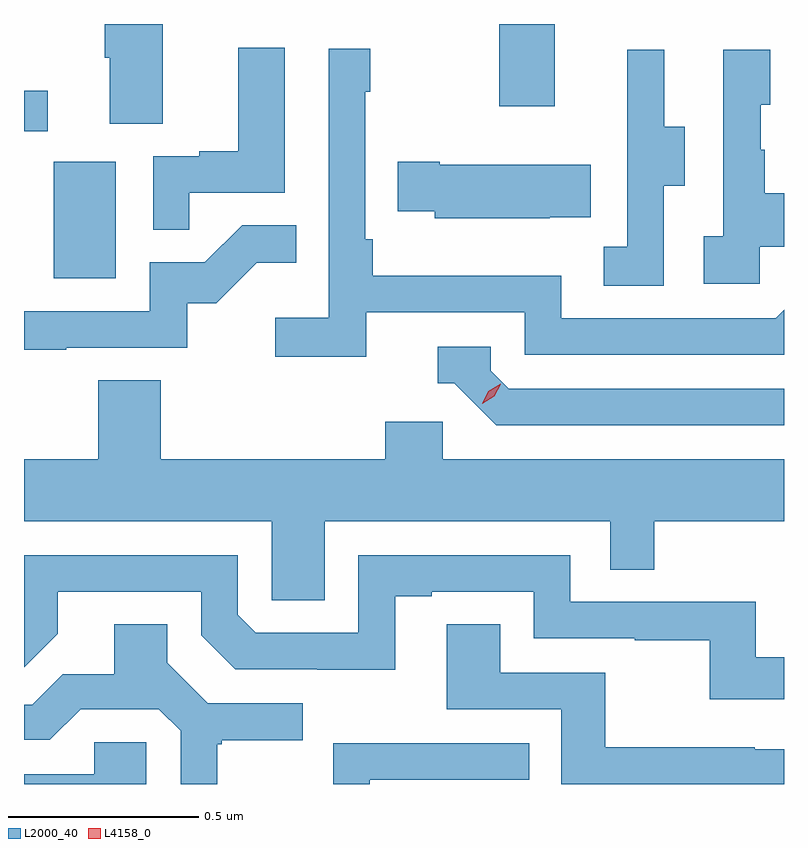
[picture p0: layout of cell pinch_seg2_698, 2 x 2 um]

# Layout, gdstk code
import gdstk
lib = gdstk.Library(unit=1e-6, precision=1e-09)
def R(c, l, rs):  # rectangles x0, y0, x1, y1
    for r in rs: c.add(gdstk.rectangle(r[:2], r[2:], *l))
def P(c, l, *ps):  # polygons
    for p in ps: c.add(gdstk.Polygon(p, *l))
L2000_40 = (2000, 40)
L4158_0 = (4158, 0)

pinch_seg2_698 = lib.new_cell('pinch_seg2_698')
R(pinch_seg2_698, L2000_40, [(1100.828,600.324,1100.992,600.631), (1100.75,600.711,1100.812,600.817), (1102,600.777,1102.147,600.993)])
P(pinch_seg2_698, L2000_40, [(1101.115,600.993),(1100.963,600.993),(1100.963,600.904),(1100.975,600.904),(1100.975,600.73),(1101.115,600.73)],
  [(1101.185,600.549),(1101.436,600.549),(1101.436,600.931),(1101.314,600.931),(1101.314,600.658),(1101.211,600.658),(1101.211,600.645),(1101.09,600.645),(1101.09,600.451),(1101.185,600.451)],
  [(1101.65,600.234),(1102.068,600.234),(1102.068,600.123),(1102.75,600.123),(1102.75,600.241),(1102.728,600.219),(1102.164,600.219),(1102.164,600.331),(1101.668,600.331),(1101.668,600.427),(1101.648,600.427),(1101.648,600.815),(1101.661,600.815),(1101.661,600.928),(1101.552,600.928),(1101.552,600.22),(1101.411,600.22),(1101.411,600.118),(1101.65,600.118)],
  [(1102.434,600.568),(1102.489,600.568),(1102.489,600.723),(1102.435,600.723),(1102.435,600.925),(1102.337,600.925),(1102.337,600.711),(1102.338,600.711),(1102.338,600.407),(1102.275,600.407),(1102.275,600.304),(1102.434,600.304)],
  [(1102.686,600.407),(1102.75,600.407),(1102.75,600.547),(1102.699,600.547),(1102.699,600.662),(1102.689,600.662),(1102.689,600.78),(1102.714,600.78),(1102.714,600.925),(1102.59,600.925),(1102.59,600.434),(1102.539,600.434),(1102.539,600.309),(1102.686,600.309)],
  [(1102.133,600.485),(1102.241,600.485),(1102.241,600.622),(1101.844,600.622),(1101.844,600.63),(1101.733,600.63),(1101.733,600.5),(1101.831,600.5),(1101.831,600.482),(1102.133,600.482)],
  [(1100.861,600.141),(1101.18,600.141),(1101.18,600.258),(1101.256,600.258),(1101.363,600.365),(1101.467,600.365),(1101.467,600.464),(1101.324,600.464),(1101.226,600.366),(1101.081,600.366),(1101.081,600.237),(1100.75,600.237),(1100.75,600.136),(1100.861,600.136)],
  [(1102.75,600.033),(1102.026,600.033),(1101.978,600.081),(1101.978,600.144),(1101.839,600.144),(1101.839,600.048),(1101.882,600.048),(1101.993,599.937),(1102.75,599.937)],
  [(1101.541,599.684),(1102.293,599.684),(1102.293,599.557),(1102.409,599.557),(1102.409,599.684),(1102.75,599.684),(1102.75,599.848),(1101.852,599.848),(1101.852,599.946),(1101.701,599.946),(1101.701,599.848),(1101.11,599.848),(1101.11,600.056),(1100.945,600.056),(1100.945,599.848),(1100.75,599.848),(1100.75,599.684),(1101.402,599.684),(1101.402,599.476),(1101.541,599.476)],
  [(1102.75,599.326),(1102.675,599.326),(1102.675,599.472),(1102.188,599.472),(1102.188,599.595),(1101.63,599.595),(1101.63,599.391),(1101.36,599.391),(1101.312,599.439),(1101.312,599.595),(1100.75,599.595),(1100.75,599.3),(1100.839,599.389),(1100.839,599.499),(1101.216,599.499),(1101.216,599.385),(1101.306,599.295),(1101.522,599.295),(1101.522,599.294),(1101.727,599.294),(1101.727,599.487),(1101.823,599.487),(1101.823,599.499),(1102.092,599.499),(1102.092,599.376),(1102.357,599.376),(1102.357,599.371),(1102.554,599.371),(1102.554,599.216),(1102.75,599.216)],
  [(1102.75,599.085),(1102.673,599.085),(1102.673,599.09),(1102.28,599.09),(1102.28,599.286),(1102.003,599.286),(1102.003,599.414),(1101.863,599.414),(1101.863,599.19),(1102.164,599.19),(1102.164,598.993),(1102.75,598.993)],
  [(1101.259,599.097),(1101.271,599.097),(1101.271,599.108),(1101.484,599.108),(1101.484,599.205),(1101.234,599.205),(1101.127,599.312),(1101.127,599.414),(1100.987,599.414),(1100.987,599.282),(1100.852,599.282),(1100.772,599.202),(1100.75,599.202),(1100.75,599.109),(1100.818,599.109),(1100.899,599.19),(1101.105,599.19),(1101.162,599.133),(1101.162,598.993),(1101.259,598.993)],
  [(1101.072,599.103),(1100.935,599.103),(1100.935,599.019),(1100.75,599.019),(1100.75,598.993),(1101.072,598.993)],
  [(1101.66,599.004),(1102.079,599.004),(1102.079,599.1),(1101.564,599.1),(1101.564,598.993),(1101.66,598.993)])
P(pinch_seg2_698, L4158_0, [(1101.956,599.994),(1101.956,599.994),(1101.972,600.026),(1102.004,600.046),(1102.004,600.046),(1102.004,600.045),(1101.987,600.013),(1101.956,599.994)])

lib.write_gds('pinch_seg2_698.gds')
